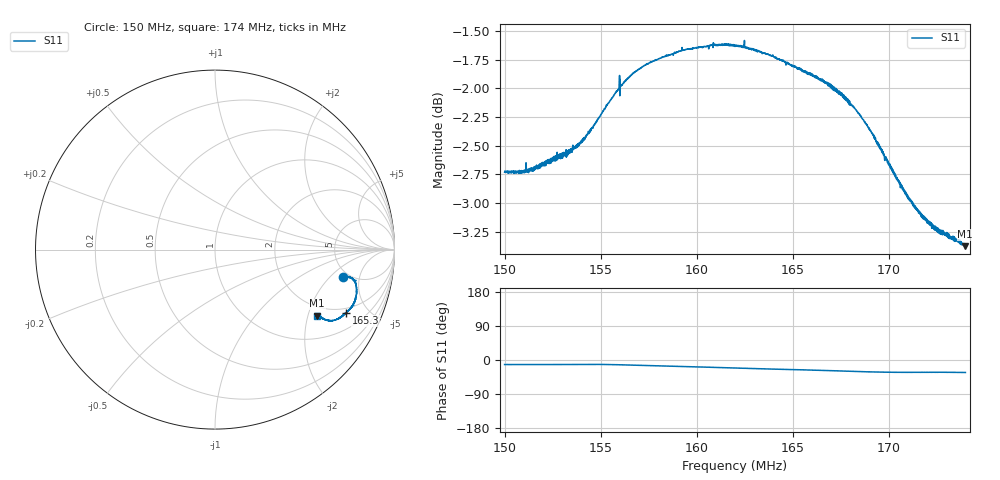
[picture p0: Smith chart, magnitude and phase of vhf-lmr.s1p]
! Calibrated averaged scanner-service zoom
# Hz S RI R 50
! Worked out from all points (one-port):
!   2001 points, 150 MHz to 174 MHz, reference 50 ohm
!   lowest |S11| = -3.4 dB at 174 MHz (marker M1), VSWR 5.21, Z = 84.2 - j115 ohm
!   |S11| at or under -10 dB: nowhere
!   S11 on the Smith chart (normalised r, x): 150 MHz: 4.47, -2.90; 165.3 MHz: 1.74, -3.58; 174 MHz: 1.68, -2.29
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1.5e8  0.7144 -0.1514
1.5126e8  0.7154 -0.1534
1.53e8  0.7281 -0.1535
1.53864e8  0.7358 -0.1522
1.5432e8  0.7434 -0.1514
1.5474e8  0.7515 -0.1533
1.5534e8  0.7646 -0.1617
1.56e8  0.7699 -0.1705
1.56684e8  0.784 -0.1901
1.5732e8  0.7875 -0.2034
1.59e8  0.7886 -0.2384
1.608e8  0.783 -0.2748
1.62e8  0.7731 -0.2981
1.6326e8  0.7588 -0.3217
1.65e8  0.7334 -0.3486
1.65336e8  0.7305 -0.3524
1.66812e8  0.7061 -0.3729
1.67544e8  0.6895 -0.3832
1.68e8  0.6778 -0.388
1.68588e8  0.6637 -0.3935
1.69296e8  0.6423 -0.3962
1.70088e8  0.6198 -0.3919
1.71e8  0.6009 -0.3831
1.71732e8  0.5902 -0.3749
1.7262e8  0.5822 -0.3697
1.73412e8  0.5741 -0.3672
1.73988e8  0.5693 -0.3682
1.74e8  0.5692 -0.3688
